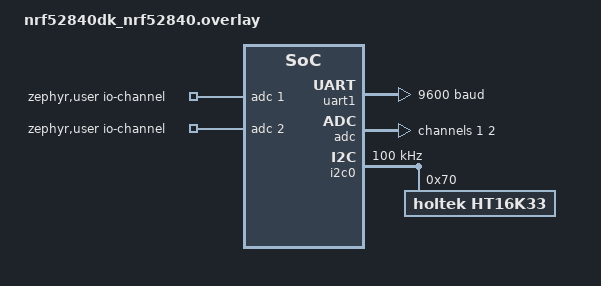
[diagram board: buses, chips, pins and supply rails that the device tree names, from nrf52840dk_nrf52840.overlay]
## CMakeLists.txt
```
# SPDX-License-Identifier: Apache-2.0

cmake_minimum_required(VERSION 3.20.0)
find_package(Zephyr REQUIRED HINTS $ENV{ZEPHYR_BASE})
project(controller)

FILE(GLOB app_sources src/*.c)
target_sources(app PRIVATE ${app_sources})

zephyr_library_include_directories(${ZEPHYR_BASE}/samples/bluetooth)
```

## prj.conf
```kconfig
# Enable Bluetooth
CONFIG_BT=y
CONFIG_BT_DEBUG_LOG=y

# Central role
CONFIG_BT_CENTRAL=y

# Scanning
CONFIG_BT_SCAN=y
CONFIG_BT_SCAN_FILTER_ENABLE=y


# Heap memory pool size
CONFIG_HEAP_MEM_POOL_SIZE=2048

CONFIG_ADC=y #enable Analog to Digital signal conversion 
CONFIG_I2C=y #enable communication between peripheral (nrf52840 board and rich shield two)
# CONFIG_ADC_ASYNC=y

CONFIG_LOG=y
CONFIG_LED=y
CONFIG_KSCAN=y

# enable keyboardscan(to detect key press in multiplexd keyboard configuration)
CONFIG_KSCAN_INIT_PRIORITY=95
CONFIG_HT16K33_KEYSCAN=y

# enable console
CONFIG_CONSOLE_SUBSYS=y
CONFIG_MULTITHREADING=y

# Button and LED library
CONFIG_DK_LIBRARY=y

# Bluetooth LE
CONFIG_BT_PERIPHERAL=y
CONFIG_BT_DEVICE_NAME="MY_LBS2"

# Increase stack size for the main thread and System Workqueue
CONFIG_SYSTEM_WORKQUEUE_STACK_SIZE=2048
CONFIG_MAIN_STACK_SIZE=2048
```

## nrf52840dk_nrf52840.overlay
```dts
/ {
	zephyr,user {
		io-channels = <&adc 1>, <&adc 2>;
	};

	aliases {
		myserial = &uart1;
	};
};

arduino_serial: &uart1 {
	status = "okay";
	compatible = "nordic,nrf-uart";
	current-speed = <9600>;
	pinctrl-0 = <&uart1_default>;
	pinctrl-1 = <&uart1_sleep>;
	pinctrl-names = "default", "sleep";
};

&adc {
	#address-cells = <1>;
	#size-cells = <0>;

	//subnode
	channel@1 {
		reg = <1>;
		zephyr,gain = "ADC_GAIN_1"; //refer to the amplication applied to analog input signal
		zephyr,reference = "ADC_REF_INTERNAL"; // max voltage that can be converted to digital value
		zephyr,acquisition-time = <ADC_ACQ_TIME_DEFAULT>; // duration for which ADC samples analog input before converting
		zephyr,input-positive = <NRF_SAADC_AIN1>; /* P0.03 */ //which pin it ADC will sample
		zephyr,resolution = <10>; // number of bits used to represent the converted signal
		// zephyr,differential;
	};

	channel@2 {
		reg = <2>;
		zephyr,gain = "ADC_GAIN_1";
		zephyr,reference = "ADC_REF_INTERNAL";
		zephyr,acquisition-time = <ADC_ACQ_TIME_DEFAULT>;
		zephyr,input-positive = <NRF_SAADC_AIN2>; /* P0.04 */
		zephyr,resolution = <10>;
		// zephyr,differential;
	};
};


&i2c0 {
	clock-frequency = <I2C_BITRATE_STANDARD>;

	ht16k33@70 {
		compatible = "holtek,ht16k33";
		reg = <0x70>;
                /* Uncomment to use IRQ instead of polling: */
		/* irq-gpios = <&gpio1 8 (GPIO_PULL_UP | GPIO_ACTIVE_LOW)>; */

		keyscan {
			compatible = "holtek,ht16k33-keyscan";
		};
	};
};
```

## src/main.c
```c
#include <zephyr/types.h>
#include <stddef.h>
#include <errno.h>
#include <zephyr/kernel.h>
#include <zephyr/sys/printk.h>

#include <zephyr/bluetooth/bluetooth.h>
#include <zephyr/bluetooth/hci.h>
#include <zephyr/bluetooth/conn.h>
#include <zephyr/bluetooth/uuid.h>
#include <zephyr/bluetooth/gatt.h>
#include <zephyr/sys/byteorder.h>

// For Joystick
#include <inttypes.h>
#include <stdint.h>

#include <zephyr/device.h>
#include <zephyr/devicetree.h>
#include <zephyr/drivers/adc.h>
#include <zephyr/sys/printk.h>
#include <zephyr/sys/util.h>

#include "led.h"
#include "gpios.h"
#include "functions.h"
#include "my_lbs.h"

#include <pthread.h>

static void start_scan(void);


static struct bt_le_adv_param *adv_param = BT_LE_ADV_PARAM(
	(BT_LE_ADV_OPT_CONNECTABLE |
	 BT_LE_ADV_OPT_USE_IDENTITY), /* Connectable advertising and use identity address */
	800, /* Min Advertising Interval 500ms (800*0.625ms) */
	801, /* Max Advertising Interval 500.625ms (801*0.625ms) */
	NULL); /* Set to NULL for undirected advertising */


#define DEVICE_NAME CONFIG_BT_DEVICE_NAME
#define DEVICE_NAME_LEN (sizeof(DEVICE_NAME) - 1)

#define RUN_STATUS_LED DK_LED1
#define CON_STATUS_LED DK_LED2
#define USER_LED DK_LED3
#define USER_BUTTON DK_BTN1_MSK

#define STACKSIZE 1024
#define SEND_PRIORITY 6
#define JOYSTICK_PRIORITY 7
#define NOTIFY_INTERVAL 500
#define BLINK_MAX 1

/* ----------------------------------------------------- */
// Global variables

static struct bt_conn *default_conn;

uint8_t direction=' ';

// add for joystick
int32_t preX = 0 , perY = 0;
static const int ADC_MAX = 1023;
// static const int ADC_MIN = 0;
static const int AXIS_DEVIATION = ADC_MAX / 2;
int32_t nowX = 0;
int32_t nowY = 0;

int bluetooth_enabled=0;
int blink_count =0;
int do_search = 0;
int joystick_enable = 0;

/* ----------------------------------------------------- */
/* Node for Devicetree overlay*/
#if !DT_NODE_EXISTS(DT_PATH(zephyr_user)) || \
   !DT_NODE_HAS_PROP(DT_PATH(zephyr_user), io_channels)
#error "No suitable devicetree overlay specified"
#endif

#define DT_SPEC_AND_COMMA(node_id, prop, idx) \
   ADC_DT_SPEC_GET_BY_IDX(node_id, idx),

/* Data of ADC io-channels specified in devicetree. */
static const struct adc_dt_spec adc_channels[] = {
   DT_FOREACH_PROP_ELEM(DT_PATH(zephyr_user), io_channels,
              DT_SPEC_AND_COMMA)
};


static const struct bt_data ad[] = {
	BT_DATA_BYTES(BT_DATA_FLAGS, (BT_LE_AD_GENERAL | BT_LE_AD_NO_BREDR)),
	BT_DATA(BT_DATA_NAME_COMPLETE, DEVICE_NAME, DEVICE_NAME_LEN),

};

static const struct bt_data sd[] = {
	BT_DATA_BYTES(BT_DATA_UUID128_ALL, BT_UUID_LBS_VAL),
};


/* ------------------------- Methods ---------------------------- */

// Thread

void send_data_thread(void)
{
	while (1) {
		/* Send notification, the function sends notifications only if a client is subscribed */
		my_lbs_send_sensor_notify(direction,default_conn);
		k_sleep(K_MSEC(NOTIFY_INTERVAL));
	}
}


/*-------- function called remotely by button press ---------------*/

void remote_bluetooth_init(){
    int bluetooth_enabled_local = bluetooth_enabled;
    int do_search_local = do_search;

   __asm__ volatile (
      // Load bluetooth_enabled into r0
      "ldr r0, =bluetooth_enabled \n"   
      "ldr r1, [r0] \n"                

      // Check if bluetooth_enabled == 0
      "cmp r1, #0 \n"                   
      "bne not_equal \n"          

      // If bluetooth_enabled == 0, do_search = 1 and bluetooth_enabled = 1
      "ldr r0, =do_search \n"          
      "mov r1, #1 \n"                 
      "str r1, [r0] \n"               

      "ldr r0, =bluetooth_enabled \n"   
      "mov r1, #1 \n"                   
      "str r1, [r0] \n"                 

      // End of conditional block
      "not_equal: \n"
      :
      :
      : "r0", "r1" // Clobbered registers
   );

    // Update local variables if necessary (not shown in inline assembly)
   bluetooth_enabled = bluetooth_enabled_local;
   do_search = do_search_local;
   return;
}

void remote_disconnect_bluetooth(){
   int ret;

   if(bluetooth_enabled==1){
      bluetooth_enabled=0;
      do_search=0;
      
      ret = gpio_pin_set_dt(&led0, 0);
      if (ret < 0) {
            return;
      }
   }

   if(default_conn!=NULL){
      printk("DISCONNECTED\n");
      bt_conn_disconnect(default_conn, BT_HCI_ERR_REMOTE_USER_TERM_CONN);
   }
}

/*-------------- bluetooth methods ---------------*/

static void device_found(const bt_addr_le_t *addr, int8_t rssi, uint8_t type,
          struct net_buf_simple *ad)
{
   char addr_str[BT_ADDR_LE_STR_LEN];
   int err;

   if (default_conn) {
      return;
   }

   if(bluetooth_enabled==0){
      return;
   }

   /* We're only interested in connectable events */
   if (type != BT_GAP_ADV_TYPE_ADV_IND &&
       type != BT_GAP_ADV_TYPE_ADV_DIRECT_IND) {
      return;
   }

   bt_addr_le_to_str(addr, addr_str, sizeof(addr_str));
   printk("Device found: %s (RSSI %d)\n", addr_str, rssi);

   /* connect only to devices in close proximity */
   if (rssi < -70) {
      return;
   }

   if (bt_le_scan_stop()) {
      printk("Failed to stop\n");
      return;
   }

   const bt_addr_le_t target_addr = {
        .type = BT_ADDR_LE_PUBLIC,
        .a = { {0xCF, 0xB0, 0x07, 0x60, 0xDA, 0x98} }
    };

   char target_addr_str[BT_ADDR_LE_STR_LEN];
    bt_addr_le_to_str(&target_addr, target_addr_str, sizeof(target_addr_str));
    printk("Target address: %s\n", target_addr_str);

   if (bt_addr_le_cmp(addr, &target_addr) == 0){
      
      err = bt_conn_le_create(addr, BT_CONN_LE_CREATE_CONN,
            BT_LE_CONN_PARAM_DEFAULT, &default_conn);
      if (err) {
         printk("Create conn to %s failed (%d)\n", addr_str, err);
         start_scan();
      }
   }
   else start_scan();
}

static void start_scan(void)
{
   int err;

   /* This demo doesn't require active scan */
   err = bt_le_scan_start(BT_LE_SCAN_PASSIVE, device_found);
   if (err) {
      printk("Scanning failed to start (err %d)\n", err);
      return;
   }

   printk("Scanning successfully started\n");
}

static void connected(struct bt_conn *conn, uint8_t err)
{
   char addr[BT_ADDR_LE_STR_LEN];
   int ret;

   bt_addr_le_to_str(bt_conn_get_dst(conn), addr, sizeof(addr));

   if (err) {
      printk("Failed to connect to %s (%u)\n", addr, err);

      bt_conn_unref(default_conn);
      default_conn = NULL;

      start_scan();
      return;
   }

   if (conn != default_conn) {
      return;
   }

   printk("Connected: %s\n", addr);
   do_search=0;
 
   ret = gpio_pin_set_dt(&led0, 1);

   if (ret < 0) {
         return;
   }

}

static void disconnected(struct bt_conn *conn, uint8_t reason)
{
   char addr[BT_ADDR_LE_STR_LEN];
   int ret;
   if (conn != default_conn) {
      return;
   }

   bt_addr_le_to_str(bt_conn_get_dst(conn), addr, sizeof(addr));

   printk("Disconnected: %s (reason 0x%02x)\n", addr, reason);

   bt_conn_unref(default_conn);
   default_conn = NULL;
   
   // ret = gpio_pin_toggle_dt(&led0);
   ret = gpio_pin_set_dt(&led0, 0);
   if (ret < 0) {
         return;
   }

   bluetooth_enabled=0;
   
   start_scan();
}

BT_CONN_CB_DEFINE(conn_callbacks) = {
   .connected = connected,
   .disconnected = disconnected,
};

/*-------------- joystick methods  ---------------*/
bool checkCondition_X(void)
{
    bool result = false; // Initialize result to false

    __asm__ volatile (
        // Load nowX into r0
        "ldr r0, =nowX \n"           
        "ldr r1, [r0] \n"            

        // Load preX - 50 into r2
        "ldr r2, =preX \n"           
        "ldr r3, [r2] \n"           
        "subs r3, r3, #50 \n"        

        // Load preX + 50 into r4
        "ldr r4, =preX \n"          
        "ldr r5, [r4] \n"            
        "adds r5, r5, #50 \n"        

        // Check if nowX < (preX - 50) || nowX > (preX + 50)
        "cmp r1, r3 \n"              
        "blt checkConditionX_true \n"
        "cmp r1, r5 \n"              
        "bgt checkConditionX_true \n"

        // If neither condition is met, set result to false
        "b checkConditionX_end \n"   

        // Label for true condition
        "checkConditionX_true: \n"
        "mov %[result], #1 \n"      

        // End of inline assembly block
        "checkConditionX_end: \n"
        : [result] "=r" (result)     
        :                           
        : "r0", "r1", "r2", "r3", "r4", "r5" 
    );

    return result;
}
bool checkCondition_Y(void)
{
    bool result = false; // Initialize result to false

    __asm__ volatile (
        // Load nowY into r0
        "ldr r0, =nowY \n"         
        "ldr r1, [r0] \n"          

        // Load perY - 50 into r2
        "ldr r2, =perY \n"          
        "ldr r3, [r2] \n"            
        "subs r3, r3, #50 \n"        

        // Load perY + 50 into r4
        "ldr r4, =perY \n"           
        "ldr r5, [r4] \n"            
        "adds r5, r5, #50 \n"        

        // Check if nowY < (perY - 50) || nowY > (perY + 50)
        "cmp r1, r3 \n"              
        "blt checkConditionY_true \n"
        "cmp r1, r5 \n"              
        "bgt checkConditionY_true \n"

        // If neither condition is met, set result to false
        "b checkConditionY_end \n"   

        // Label for true condition
        "checkConditionY_true: \n"
        "mov %[result], #1 \n"       

        // End of inline assembly block
        "checkConditionY_end: \n"
        : [result] "=r" (result)    
        :                            
        : "r0", "r1", "r2", "r3", "r4", "r5" 
    );

    return result;
}

bool isChange(void)
{
   if(checkCondition_X()){
      __asm__ volatile (
         // Load nowX into r0
         "ldr r0, =nowX \n"          
         "ldr r1, [r0] \n"            

         // Store nowX into preX
         "ldr r0, =preX \n"           
         "str r1, [r0] \n"          
         :
         :
         : "r0", "r1" // Clobbered registers
      );
      return true;
   }

   if(checkCondition_Y()){
      __asm__ volatile (
        // Load nowY into r0
        "ldr r0, =nowY \n"          
        "ldr r1, [r0] \n"          

        // Store nowY into perY
        "ldr r0, =perY \n"          
        "str r1, [r0] \n"           
        :
        :
        : "r0", "r1" // Clobbered registers
      );
      return true;
   }
   return false;
}


void joystick_thread(void)
{
	int err;

   uint32_t count = 0;
   uint16_t buf;
   struct adc_sequence sequence = {
      .buffer = &buf,
      /* buffer size in bytes, not number of samples */
      .buffer_size = sizeof(buf),
   };

   /* Joystick Read */
   while (1) {
      //blink_count++;
      __asm__ volatile (
         "ldr r0, =blink_count \n" 
         "ldr r1, [r0] \n"          
         "adds r1, r1, #1 \n"      
         "str r1, [r0] \n"          
         :                        
         :                         
         : "r0", "r1"              
      );

      if(blink_count >= BLINK_MAX){
         blink_count =0;
         if(do_search==1)
            gpio_pin_toggle_dt(&led0);
      }

      printk("ADC reading[%u]: ", count++);

      (void)adc_sequence_init_dt(&adc_channels[0], &sequence);
      err = adc_read(adc_channels[0].dev, &sequence);
      if (err < 0) {
         printk("Could not read (%d)\n", err);
         continue;
      }

      nowX = (int32_t)buf;

      (void)adc_sequence_init_dt(&adc_channels[1], &sequence);
      err = adc_read(adc_channels[1].dev, &sequence);
      if (err < 0) {
         printk("Could not read (%d)\n", err);
         continue;
      }

      nowY = (int32_t)buf;

      printk("Joy X: %" PRIu32 ", ", nowX);
      printk("Joy Y: %" PRIu32 ", ", nowY);


      if (nowX >= 65500 || nowY >= 65500){
         printk("Out of Range\n");
         k_sleep(K_MSEC(100));
         continue;
      }


      bool checkFlag = isChange();
      if(!checkFlag){
            printk("No Change\n");
         k_sleep(K_MSEC(100));
         continue;
      } else {
         led_off_all();
      }

      if (nowX == ADC_MAX && nowY == ADC_MAX){
         led_on_center();
         direction ='x';
         printk("Center");
      } else if (nowX < AXIS_DEVIATION && nowY == ADC_MAX){
         led_on_left();
         direction ='a';
         printk("Left");
      } else if (nowX > AXIS_DEVIATION && nowY == ADC_MAX){
         led_on_right();
         direction ='d';
         printk("Right");
      } else if (nowY > AXIS_DEVIATION && nowX == ADC_MAX){
         led_on_up();
         direction ='w';
         printk("Up");
      } else if (nowY < AXIS_DEVIATION && nowX == ADC_MAX){
         led_on_down();
         direction ='s';
         printk("Down");
      }

      printk("\n");

      k_sleep(K_MSEC(100));
   }
}

int main(void)
{

   int err;


   /* Configure channels individually prior to sampling. */
   for (size_t i = 0U; i < ARRAY_SIZE(adc_channels); i++) {
      if (!adc_is_ready_dt(&adc_channels[i])) {
         printk("ADC controller device %s not ready\n", adc_channels[i].dev->name);
         return 0;
      }

      err = adc_channel_setup_dt(&adc_channels[i]);
      if (err < 0) {
         printk("Could not setup channel #%d (%d)\n", i, err);
         return 0;
      }
   }
   led_init();
   gpio_init();


   /* Bluetooth Initialization */
   err = bt_enable(NULL);
   if (err) {
      printk("Bluetooth init failed (err %d)\n", err);
      return 0;
   }
   
   printk("Bluetooth initialized\n");

   err = my_lbs_init(NULL);
	if (err) {
		printk("Failed to init LBS (err:%d)\n", err);
		return -1;
	}
	printk("Bluetooth initialized\n");
	err = bt_le_adv_start(adv_param, ad, ARRAY_SIZE(ad), sd, ARRAY_SIZE(sd));
	if (err) {
		printk("Advertising failed to start \n");
		return 1;
	}

   start_scan();

   return 0;
}

K_THREAD_DEFINE(joystick_thread_id, STACKSIZE, joystick_thread, NULL, NULL, NULL, JOYSTICK_PRIORITY, 0, 0);

K_THREAD_DEFINE(send_data_thread_id, STACKSIZE, send_data_thread, NULL, NULL, NULL, SEND_PRIORITY, 0, 0);
```

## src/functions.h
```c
#ifndef FUNCTIONS_H
#define FUNCTIONS_H

void remote_bluetooth_init(void);
void remote_disconnect_bluetooth();

#endif // FUNCTIONS_H
```

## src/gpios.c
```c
#include <zephyr/sys/util.h>

#include "gpios.h"
#include "functions.h"

static struct gpio_callback button0_cb_data;
static struct gpio_callback button1_cb_data;
static struct gpio_callback button2_cb_data;
static struct gpio_callback button3_cb_data;


void button0_callback(const struct device *dev, struct gpio_callback *cb, uint32_t pins)
{
    printk("Button 0 pressed\n");

    remote_bluetooth_init();
    return;
}

void button1_callback(const struct device *dev, struct gpio_callback *cb, uint32_t pins)
{
    printk("Button 1 pressed\n");
    // int ret;
    // ret = gpio_pin_toggle_dt(&led1);
    // if (ret < 0) {
    //     return;
    // }
    remote_disconnect_bluetooth();
}

void button2_callback(const struct device *dev, struct gpio_callback *cb, uint32_t pins)
{
    printk("Button 2 pressed\n");
    int ret;
    ret = gpio_pin_toggle_dt(&led2);
    if (ret < 0) {
            return;
    }
}

void button3_callback(const struct device *dev, struct gpio_callback *cb, uint32_t pins)
{
    printk("Button 3 pressed\n");
    int ret;
    ret = gpio_pin_toggle_dt(&led3);
    if (ret < 0) {
            return;
    }
}

int gpio_init(void)
{
    int err = GPIO_FAIL;

    // Set butto0 interrupt
    printk("Setting button0 interrupt\n");

    err = gpio_is_ready_dt(&button0);
    if (!err) {
        printk("Error gpio_is_ready_dt led0 pin %d\n", err);
        return GPIO_FAIL;
    }

    err = gpio_pin_configure_dt(&button0, GPIO_INPUT | GPIO_PULL_UP);
    
    if (err < 0) {
        printk("Error configuring button0 pin %d\n", err);
        return GPIO_FAIL;
    }

    err = gpio_pin_interrupt_configure_dt(&button0, GPIO_INT_EDGE_TO_ACTIVE);
    if (err != 0) {
        printk("Error configuring interrupt on button0 pin %d\n", err);
        return GPIO_FAIL;
    }
    gpio_init_callback(&button0_cb_data, button0_callback, BIT(button0.pin));
    gpio_add_callback(button0.port, &button0_cb_data);

    // Set button1 interrupt
    printk("Setting button1 interrupt\n");
    err = gpio_is_ready_dt(&button1);
    if (!err) {
        printk("Error gpio_is_ready_dt led1 pin %d\n", err);
        return GPIO_FAIL;
    }

    err = gpio_pin_configure_dt(&button1, GPIO_INPUT | GPIO_PULL_UP);
    if (err < 0) {
        printk("Error configuring button1 pin %d\n", err);
        return GPIO_FAIL;
    }

    err = gpio_pin_interrupt_configure_dt(&button1, GPIO_INT_EDGE_TO_ACTIVE);
    if (err != 0) {
        printk("Error configuring interrupt on button1 pin %d\n", err);
        return GPIO_FAIL;
    }
    gpio_init_callback(&button1_cb_data, button1_callback, BIT(button1.pin));
    gpio_add_callback(button1.port, &button1_cb_data);

    // Set button2 interrupt
    printk("Setting button2 interrupt\n");
    err = gpio_is_ready_dt(&button2);
    if (!err) {
        printk("Error gpio_is_ready_dt led2 pin %d\n", err);
        return GPIO_FAIL;
    }

    err = gpio_pin_configure_dt(&button2, GPIO_INPUT | GPIO_PULL_UP);
    if (err < 0) {
        printk("Error configuring button2 pin %d\n", err);
        return GPIO_FAIL;
    }

    err = gpio_pin_interrupt_configure_dt(&button2, GPIO_INT_EDGE_TO_ACTIVE);
    if (err != 0) {
        printk("Error configuring interrupt on button2 pin %d\n", err);
        return GPIO_FAIL;
    }
    gpio_init_callback(&button2_cb_data, button2_callback, BIT(button2.pin));
    gpio_add_callback(button2.port, &button2_cb_data);

    // Set button3 interrupt
    printk("Setting button3 interrupt\n");
    err = gpio_is_ready_dt(&button3);
    if (!err) {
        printk("Error gpio_is_ready_dt led3 pin %d\n", err);
        return GPIO_FAIL;
    }

    err = gpio_pin_configure_dt(&button3, GPIO_INPUT | GPIO_PULL_UP);
    if (err < 0) {
        printk("Error configuring button3 pin %d\n", err);
        return GPIO_FAIL;
    }

    err = gpio_pin_interrupt_configure_dt(&button3, GPIO_INT_EDGE_TO_ACTIVE);
    if (err != 0) {
        printk("Error configuring interrupt on button3 pin %d\n", err);
        return GPIO_FAIL;
    }
    gpio_init_callback(&button3_cb_data, button3_callback, BIT(button3.pin));
    gpio_add_callback(button3.port, &button3_cb_data);

    // Set led0
    err = gpio_is_ready_dt(&led0);
    if (!err) {
        printk("Error gpio_is_ready_dt led0 pin %d\n", err);
        return GPIO_FAIL;
    }

    err = gpio_pin_configure_dt(&led0, GPIO_OUTPUT_ACTIVE);
    if (err < 0) {
        printk("Error %d: failed to configure LED0 pin\n", err);
        return GPIO_FAIL;
    }

    // Set led1
    err = gpio_is_ready_dt(&led1);
    if (!err) {
        printk("Error gpio_is_ready_dt led1 pin %d\n", err);
        return GPIO_FAIL;
    }

    err = gpio_pin_configure_dt(&led1, GPIO_OUTPUT_ACTIVE);
    if (err < 0) {
        printk("Error %d: failed to configure LED1 pin\n", err);
        return GPIO_FAIL;
    }

    // Set led2
    err = gpio_is_ready_dt(&led2);
    if (!err) {
        printk("Error gpio_is_ready_dt led2 pin %d\n", err);
        return GPIO_FAIL;
    }

    err = gpio_pin_configure_dt(&led2, GPIO_OUTPUT_ACTIVE);
    if (err < 0) {
        printk("Error %d: failed to configure LED2 pin\n", err);
        return GPIO_FAIL;
    }

    // Set led3
    err = gpio_is_ready_dt(&led3);
    if (!err) {
        printk("Error gpio_is_ready_dt led3 pin %d\n", err);
        return GPIO_FAIL;
    }

    err = gpio_pin_configure_dt(&led3, GPIO_OUTPUT_ACTIVE);
    if (err < 0) {
        printk("Error %d: failed to configure LED3 pin\n", err);
        return GPIO_FAIL;
    }

    gpio_pin_toggle_dt(&led0);
    gpio_pin_toggle_dt(&led1);
    gpio_pin_toggle_dt(&led2);
    gpio_pin_toggle_dt(&led3);


    return GPIO_OK;
}
```

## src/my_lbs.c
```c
/*
 * Copyright (c) 2018 Nordic Semiconductor ASA
 *
 * SPDX-License-Identifier: LicenseRef-Nordic-5-Clause
 */

/** @file
 *  @brief LED Button Service (LBS) sample
 */

#include <zephyr/types.h>
#include <stddef.h>
#include <string.h>
#include <errno.h>
#include <zephyr/sys/printk.h>
#include <zephyr/sys/byteorder.h>
#include <zephyr/kernel.h>
#include <zephyr/logging/log.h>
#include <zephyr/bluetooth/bluetooth.h>
#include <zephyr/bluetooth/hci.h>
#include <zephyr/bluetooth/conn.h>
#include <zephyr/bluetooth/uuid.h>
#include <zephyr/bluetooth/gatt.h>

#include "my_lbs.h"

LOG_MODULE_DECLARE(Lesson4_Exercise2);

static bool notify_mysensor_enabled;
static bool indicate_enabled;
static bool button_state;
static struct my_lbs_cb lbs_cb;

/* STEP 4 - Define an indication parameter */
static struct bt_gatt_indicate_params ind_params;

/* STEP 3 - Implement the configuration change callback function */
static void mylbsbc_ccc_cfg_changed(const struct bt_gatt_attr *attr, uint16_t value)
{
	indicate_enabled = (value == BT_GATT_CCC_INDICATE);
}

/* STEP 13 - Define the configuration change callback function for the MYSENSOR characteristic */
static void mylbsbc_ccc_mysensor_cfg_changed(const struct bt_gatt_attr *attr, uint16_t value)
{
    printk("CHANGED\n");
	notify_mysensor_enabled = (value == BT_GATT_CCC_NOTIFY);
}

// This function is called when a remote device has acknowledged the indication at its host layer
static void indicate_cb(struct bt_conn *conn, struct bt_gatt_indicate_params *params, uint8_t err)
{
	LOG_DBG("Indication %s\n", err != 0U ? "fail" : "success");
}
static ssize_t write_led(struct bt_conn *conn, const struct bt_gatt_attr *attr, const void *buf,
			 uint16_t len, uint16_t offset, uint8_t flags)
{
	LOG_DBG("Attribute write, handle: %u, conn: %p", attr->handle, (void *)conn);

	if (len != 1U) {
		LOG_DBG("Write led: Incorrect data length");
		return BT_GATT_ERR(BT_ATT_ERR_INVALID_ATTRIBUTE_LEN);
	}

	if (offset != 0) {
		LOG_DBG("Write led: Incorrect data offset");
		return BT_GATT_ERR(BT_ATT_ERR_INVALID_OFFSET);
	}

	if (lbs_cb.led_cb) {
		// Read the received value
		uint8_t val = *((uint8_t *)buf);

		if (val == 0x00 || val == 0x01) {
			// Call the application callback function to update the LED state
			lbs_cb.led_cb(val ? true : false);
		} else {
			LOG_DBG("Write led: Incorrect value");
			return BT_GATT_ERR(BT_ATT_ERR_VALUE_NOT_ALLOWED);
		}
	}

	return len;
}

static ssize_t read_button(struct bt_conn *conn, const struct bt_gatt_attr *attr, void *buf,
			   uint16_t len, uint16_t offset)
{
	// get a pointer to button_state which is passed in the BT_GATT_CHARACTERISTIC() and stored in attr->user_data
	const char *value = attr->user_data;

	LOG_DBG("Attribute read, handle: %u, conn: %p", attr->handle, (void *)conn);

	if (lbs_cb.button_cb) {
		// Call the application callback function to update the get the current value of the button
		button_state = lbs_cb.button_cb();
		return bt_gatt_attr_read(conn, attr, buf, len, offset, value, sizeof(*value));
	}

	return 0;
}

/* LED Button Service Declaration */
BT_GATT_SERVICE_DEFINE(
	my_lbs_svc, BT_GATT_PRIMARY_SERVICE(BT_UUID_LBS),
	/* STEP 1 - Modify the Button characteristic declaration to support indication */
	BT_GATT_CHARACTERISTIC(BT_UUID_LBS_BUTTON, BT_GATT_CHRC_READ | BT_GATT_CHRC_INDICATE,
			       BT_GATT_PERM_READ, read_button, NULL, &button_state),
	/* STEP 2 - Create and add the Client Characteristic Configuration Descriptor */
	BT_GATT_CCC(mylbsbc_ccc_cfg_changed, BT_GATT_PERM_READ | BT_GATT_PERM_WRITE),

	BT_GATT_CHARACTERISTIC(BT_UUID_LBS_LED, BT_GATT_CHRC_WRITE, BT_GATT_PERM_WRITE, NULL,
			       write_led, NULL),
	/* STEP 12 - Create and add the MYSENSOR characteristic and its CCCD  */
	BT_GATT_CHARACTERISTIC(BT_UUID_LBS_MYSENSOR, BT_GATT_CHRC_NOTIFY, BT_GATT_PERM_NONE, NULL,
			       NULL, NULL),

	BT_GATT_CCC(mylbsbc_ccc_mysensor_cfg_changed, BT_GATT_PERM_READ | BT_GATT_PERM_WRITE),

);
/* A function to register application callbacks for the LED and Button characteristics  */
int my_lbs_init(struct my_lbs_cb *callbacks)
{
	if (callbacks) {
		lbs_cb.led_cb = callbacks->led_cb;
		lbs_cb.button_cb = callbacks->button_cb;
	}

	return 0;
}

/* STEP 5 - Define the function to send indications */
int my_lbs_send_button_state_indicate(bool button_state)
{
	if (!indicate_enabled) {
		return -EACCES;
	}
	ind_params.attr = &my_lbs_svc.attrs[2];
	ind_params.func = indicate_cb; // A remote device has ACKed at its host layer (ATT ACK)
	ind_params.destroy = NULL;
	ind_params.data = &button_state;
	ind_params.len = sizeof(button_state);
	return bt_gatt_indicate(NULL, &ind_params);
}

/* STEP 14 - Define the function to send notifications for the MYSENSOR characteristic */
int my_lbs_send_sensor_notify(uint8_t sensor_value, struct bt_conn *conn)
{
	if (!notify_mysensor_enabled) {
		return -EACCES;
	}

    printk("SENT!\n");
	return bt_gatt_notify(conn, &my_lbs_svc.attrs[7], &sensor_value, sizeof(sensor_value));
}
```

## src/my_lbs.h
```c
/*
 * Copyright (c) 2018 Nordic Semiconductor ASA
 *
 * SPDX-License-Identifier: LicenseRef-Nordic-5-Clause
 */

#ifndef BT_LBS_H_
#define BT_LBS_H_

/**@file
 * @defgroup bt_lbs LED Button Service API
 * @{
 * @brief API for the LED Button Service (LBS).
 */

#ifdef __cplusplus
extern "C" {
#endif

#include <zephyr/types.h>

/** @brief LBS Service UUID. */
#define BT_UUID_LBS_VAL BT_UUID_128_ENCODE(0x00001523, 0x1212, 0xefde, 0x1523, 0x785feabcd123)

/** @brief Button Characteristic UUID. */
#define BT_UUID_LBS_BUTTON_VAL                                                                     \
	BT_UUID_128_ENCODE(0x00001524, 0x1212, 0xefde, 0x1523, 0x785feabcd123)

/** @brief LED Characteristic UUID. */
#define BT_UUID_LBS_LED_VAL BT_UUID_128_ENCODE(0x00001525, 0x1212, 0xefde, 0x1523, 0x785feabcd123)

/* STEP 11.1 - Assign a UUID to the MYSENSOR characteristic */
/** @brief LED Characteristic UUID. */
#define BT_UUID_LBS_MYSENSOR_VAL                                                                   \
	BT_UUID_128_ENCODE(0x00001526, 0x1212, 0xefde, 0x1523, 0x785feabcd123)

#define BT_UUID_LBS BT_UUID_DECLARE_128(BT_UUID_LBS_VAL)
#define BT_UUID_LBS_BUTTON BT_UUID_DECLARE_128(BT_UUID_LBS_BUTTON_VAL)
#define BT_UUID_LBS_LED BT_UUID_DECLARE_128(BT_UUID_LBS_LED_VAL)
/* STEP 11.2 - Convert the array to a generic UUID */
#define BT_UUID_LBS_MYSENSOR BT_UUID_DECLARE_128(BT_UUID_LBS_MYSENSOR_VAL)

/** @brief Callback type for when an LED state change is received. */
typedef void (*led_cb_t)(const bool led_state);

/** @brief Callback type for when the button state is pulled. */
typedef bool (*button_cb_t)(void);

/** @brief Callback struct used by the LBS Service. */
struct my_lbs_cb {
	/** LED state change callback. */
	led_cb_t led_cb;
	/** Button read callback. */
	button_cb_t button_cb;
};

/** @brief Initialize the LBS Service.
 *
 * This function registers application callback functions with the My LBS
 * Service
 *
 * @param[in] callbacks Struct containing pointers to callback functions
 *			used by the service. This pointer can be NULL
 *			if no callback functions are defined.
 *
 *
 * @retval 0 If the operation was successful.
 *           Otherwise, a (negative) error code is returned.
 */
int my_lbs_init(struct my_lbs_cb *callbacks);

/** @brief Send the button state as indication.
 *
 * This function sends a binary state, typically the state of a
 * button, to all connected peers.
 *
 * @param[in] button_state The state of the button.
 *
 * @retval 0 If the operation was successful.
 *           Otherwise, a (negative) error code is returned.
 */
int my_lbs_send_button_state_indicate(bool button_state);

/** @brief Send the button state as notification.
 *
 * This function sends a binary state, typically the state of a
 * button, to all connected peers.
 *
 * @param[in] button_state The state of the button.
 *
 * @retval 0 If the operation was successful.
 *           Otherwise, a (negative) error code is returned.
 */
int my_lbs_send_button_state_notify(bool button_state);

/** @brief Send the sensor value as notification.
 *
 * This function sends an uint32_t  value, typically the value
 * of a simulated sensor to all connected peers.
 *
 * @param[in] sensor_value The value of the simulated sensor.
 *
 * @retval 0 If the operation was successful.
 *           Otherwise, a (negative) error code is returned.
 */
int my_lbs_send_sensor_notify(uint8_t sensor_value, struct bt_conn *conn);

#ifdef __cplusplus
}
#endif

/**
 * @}
 */

#endif /* BT_LBS_H_ */
```

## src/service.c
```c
#include <zephyr/types.h>
#include <stddef.h>
#include <string.h>
#include <errno.h>
#include <zephyr/sys/printk.h>
#include <zephyr/sys/byteorder.h>
// #include <zephyr.h>
#include <soc.h>

#include <zephyr/bluetooth/bluetooth.h>
#include <zephyr/bluetooth/hci.h>
#include <zephyr/bluetooth/conn.h>
#include <zephyr/bluetooth/uuid.h>
#include <zephyr/bluetooth/addr.h>
#include <zephyr/bluetooth/gatt.h>

#include "service.h"

#define BT_UUID_MY_SERVICE      BT_UUID_DECLARE_128(MY_SERVICE_UUID)
#define BT_UUID_MY_SERVICE_RX   BT_UUID_DECLARE_128(RX_CHARACTERISTIC_UUID)
#define BT_UUID_MY_SERVICE_TX   BT_UUID_DECLARE_128(TX_CHARACTERISTIC_UUID)

#define MAX_TRANSMIT_SIZE 240//TODO figure this out

uint8_t data_rx[MAX_TRANSMIT_SIZE];
uint8_t data_tx[MAX_TRANSMIT_SIZE];

int my_service_init(void)
{
    int err = 0;

    memset(&data_rx, 0, MAX_TRANSMIT_SIZE);
    memset(&data_tx, 0, MAX_TRANSMIT_SIZE);

    return err;
}

/* This function is called whenever the RX Characteristic has been written to by a Client */
static ssize_t on_receive(struct bt_conn *conn,
			  const struct bt_gatt_attr *attr,
			  const void *buf,
			  uint16_t len,
			  uint16_t offset,
			  uint8_t flags)
{
    const uint8_t * buffer = buf;

	printk("Received data, handle %d, conn %p, data: 0x", attr->handle, conn);
    for(uint8_t i = 0; i < len; i++){
        printk("%02X", buffer[i]);
    }
    printk("\n");

	return len;
}

/* This function is called whenever a Notification has been sent by the TX Characteristic */
static void on_sent(struct bt_conn *conn, void *user_data)
{
	ARG_UNUSED(user_data);

    const bt_addr_le_t * addr = bt_conn_get_dst(conn);

	printk("Data sent to Address 0x %02X %02X %02X %02X %02X %02X \n", addr->a.val[0]
                                                                    , addr->a.val[1]
                                                                    , addr->a.val[2]
                                                                    , addr->a.val[3]
                                                                    , addr->a.val[4]
                                                                    , addr->a.val[5]);
}

/* This function is called whenever the CCCD register has been changed by the client*/
void on_cccd_changed(const struct bt_gatt_attr *attr, uint16_t value)
{
    ARG_UNUSED(attr);
    switch(value)
    {
        case BT_GATT_CCC_NOTIFY:
            // Start sending stuff!
            break;

        case BT_GATT_CCC_INDICATE:
            // Start sending stuff via indications
            break;

        case 0:
            // Stop sending stuff
            break;

        default:
            printk("Error, CCCD has been set to an invalid value");
    }
}


/* LED Button Service Declaration and Registration */
BT_GATT_SERVICE_DEFINE(my_service,
BT_GATT_PRIMARY_SERVICE(BT_UUID_MY_SERVICE),
BT_GATT_CHARACTERISTIC(BT_UUID_MY_SERVICE_RX,
			       BT_GATT_CHRC_WRITE | BT_GATT_CHRC_WRITE_WITHOUT_RESP,
			       BT_GATT_PERM_READ | BT_GATT_PERM_WRITE,
                   NULL, on_receive, NULL),
BT_GATT_CHARACTERISTIC(BT_UUID_MY_SERVICE_TX,
			       BT_GATT_CHRC_NOTIFY,
			       BT_GATT_PERM_READ,
                   NULL, NULL, NULL),
BT_GATT_CCC(on_cccd_changed,
        BT_GATT_PERM_READ | BT_GATT_PERM_WRITE),
);

/* This function sends a notification to a Client with the provided data,
given that the Client Characteristic Control Descripter has been set to Notify (0x1).
It also calls the on_sent() callback if successful*/
void my_service_send(struct bt_conn *conn, const uint8_t *data, uint16_t len)
{
    /*
    The attribute for the TX characteristic is used with bt_gatt_is_subscribed
    to check whether notification has been enabled by the peer or not.
    Attribute table: 0 = Service, 1 = Primary service, 2 = RX, 3 = TX, 4 = CCC.
    */
    const struct bt_gatt_attr *attr = &my_service.attrs[3];

    struct bt_gatt_notify_params params =
    {
        .uuid   = BT_UUID_MY_SERVICE_TX,
        .attr   = attr,
        .data   = data,
        .len    = len,
        .func   = on_sent
    };

    // Check whether notifications are enabled or not
    if(bt_gatt_is_subscribed(conn, attr, BT_GATT_CCC_NOTIFY))
    {
        // Send the notification
	    if(bt_gatt_notify_cb(conn, &params))
        {
            printk("Error, unable to send notification\n");
        }
    }
    else
    {
        printk("Warning, notification not enabled on the selected attribute\n");
    }
}
```

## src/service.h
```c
#include <zephyr/types.h>
#include <stddef.h>
#include <string.h>
#include <errno.h>
// #include <zephyr.h>
#include <soc.h>

#include <zephyr/bluetooth/bluetooth.h>
#include <zephyr/bluetooth/hci.h>
#include <zephyr/bluetooth/conn.h>
#include <zephyr/bluetooth/uuid.h>
#include <zephyr/bluetooth/gatt.h>

#define MY_SERVICE_UUID 0xd4, 0x86, 0x48, 0x24, 0x54, 0xB3, 0x43, 0xA1, \
			            0xBC, 0x20, 0x97, 0x8F, 0xC3, 0x76, 0xC2, 0x75

#define RX_CHARACTERISTIC_UUID  0xA6, 0xE8, 0xC4, 0x60, 0x7E, 0xAA, 0x41, 0x6B, \
			                    0x95, 0xD4, 0x9D, 0xCC, 0x08, 0x4F, 0xCF, 0x6A

#define TX_CHARACTERISTIC_UUID  0xED, 0xAA, 0x20, 0x11, 0x92, 0xE7, 0x43, 0x5A, \
			                    0xAA, 0xE9, 0x94, 0x43, 0x35, 0x6A, 0xD4, 0xD3

/** @brief Callback type for when new data is received. */
typedef void (*data_rx_cb_t)(uint8_t *data, uint8_t length);

// /** @brief Callback struct used by the my_service Service. */
// struct my_service_cb
// {
// 	/** Data received callback. */
// 	data_rx_cb_t    data_rx_cb;
// };

int my_service_init(void);

void my_service_send(struct bt_conn *conn, const uint8_t *data, uint16_t len);
```
